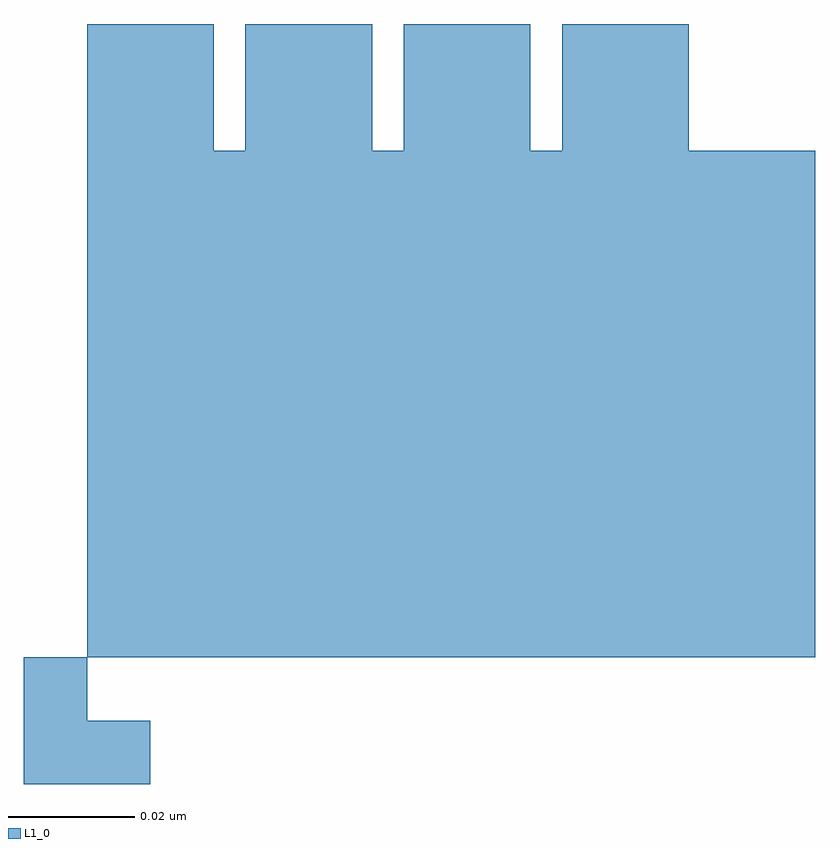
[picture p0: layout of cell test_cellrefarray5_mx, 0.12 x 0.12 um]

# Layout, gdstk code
from math import pi, radians
import gdstk
lib = gdstk.Library(unit=1e-6, precision=1e-09)
def P(c, l, *ps):  # polygons
    for p in ps: c.add(gdstk.Polygon(p, *l))
L1_0 = (1, 0)

test = lib.new_cell('test')
P(test, L1_0, [(0,0),(0,0.02),(0.01,0.02),(0.01,0.01),(0.02,0.01),(0.02,0)])

test_cellrefarray5_mx = lib.new_cell('test_cellrefarray5_mx')
test_cellrefarray5_mx.add(gdstk.Reference(test, (0,0)))
r = gdstk.Reference(test, (0.01,0.02), rotation=pi/2, magnification=2, x_reflection=True); r.repetition = gdstk.Repetition(4, 4, v1=(0.025,0), v2=(0,0.02)); test_cellrefarray5_mx.add(r)

lib.write_gds('test_cellrefarray5_mx.gds')
